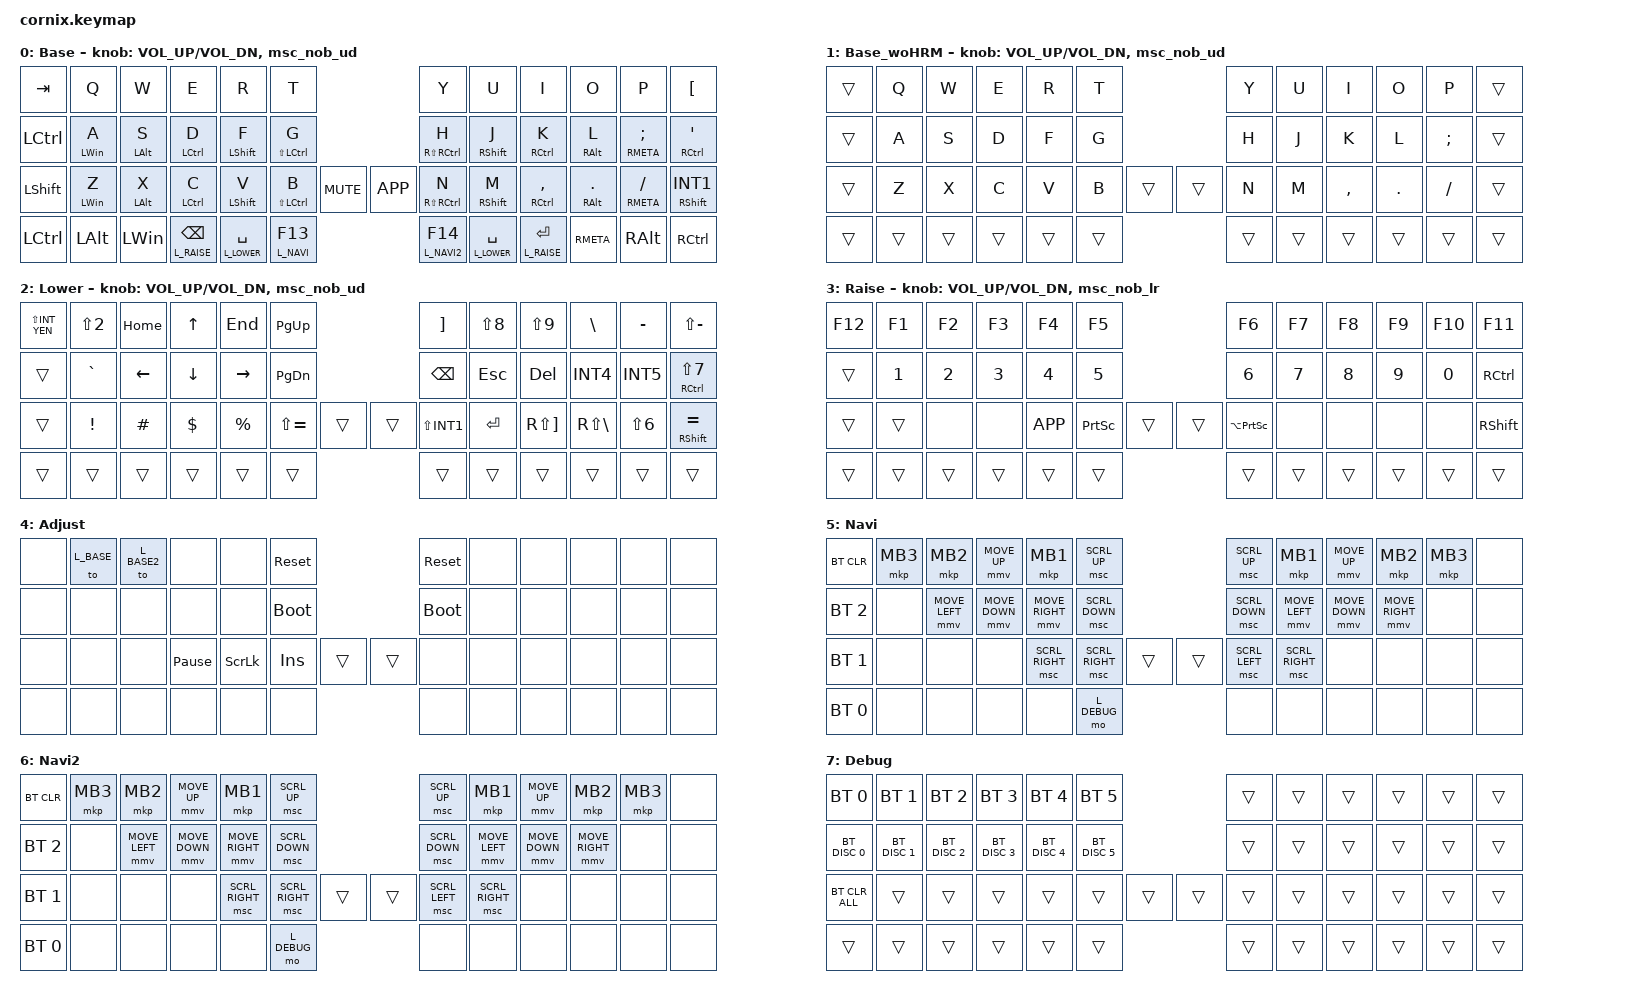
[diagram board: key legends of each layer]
/*
 * Copyright (c) 2020 The ZMK Contributors
 *
 * SPDX-License-Identifier: MIT
 */

#include "zmk-helpers/helper.h"
#include "includes/cornix54.h"

// Home Row mod定数
#define HM_TAPPING_TERM         200     // 通常判定
#define HM_QUICK_TAP_TERM       200     // 通常判定
#define HM_PRIOR_IDLE           150
#define HM_TAPPING_TERM_FAST    150     // 高速判定
#define HM_QUICK_TAP_TERM_FAST  150     // 高速判定

#define LT_THUMB_TAPPING_TERM   300     // 親指 layer tap
#define LT_LITTLE_TAPPING_TERM  300     // 小指 layer tap
#define MT_LITTLE_TAPPING_TERM  300     // 小指 mod tap

#define HM_TAPPING_REPEAT 210

// layers
#define L_BASE      0
#define L_BASE2     1   // BASE without HRM
#define L_LOWER     2
#define L_RAISE     3
#define L_ADJUST    4
#define L_NAVI      5
#define L_NAVI2     6
#define L_DEBUG     7

// https://github.com/urob/zmk-config/tree/main#timeless-homerow-mods

#define KEYS_L LT0 LT1 LT2 LT3 LT4 LT5 LM0 LM1 LM2 LM3 LM4 LM5 LB0 LB1 LB2 LB3 LB4 LB5  // left hand
#define KEYS_R RT0 RT1 RT2 RT3 RT4 RT5 RM0 RM1 RM2 RM3 RM4 RM5 RB0 RB1 RB2 RB3 RB4 RB5  // right hand
#define THUMBS LH1 LH0 RH0 RH1
#define KEYS_T LH1 LH0 RH0 RH1

#include <behaviors.dtsi>
#include <dt-bindings/zmk/bt.h>
#include <dt-bindings/zmk/keys.h>
#include <dt-bindings/zmk/pointing.h>

#include "keycode_japanese.h"

// modifier組み合わせ

/*- 個人設定 ---------------------------------------------------------------*/

/* combo */
#define COMBO_TIMEOUT       25      // combo入力時間
#define COMBO_PRIOR_IDLE    80      // combo入力前に一旦待つ

/* キーボードでのマウス操作 */
#define ZMK_POINTING_DEFAULT_MOVE_VAL   2400    // default: 600
#define ZMK_POINTING_DEFAULT_SCRL_VAL   80     // default: 10


/*- キーマウス加速 ----------------------------------------------------------*/
&mmv {
    time-to-max-speed-ms = <600>;  // 最高速に達するまでの時間(ms)
    acceleration-exponent = <1>;    // 加速カーブの形状(1:線形, 2:二次加速)
    delay-ms = <0>;                 // 動き始めるまでの遅延(ms)
};

/* キーホイール加速 */
&msc {
    time-to-max-speed-ms = <600>;  // 最高速に達するまでの時間(ms)
    acceleration-exponent = <1>;    // 加速カーブの形状(1:線形, 2:二次加速)
    delay-ms = <0>;                 // 動き始めるまでの遅延(ms)
};

/ {
    // Activate ADJUST layer by pressing raise and lower

    behaviors {
        hm_l: homerow_mods_left {
            compatible = "zmk,behavior-hold-tap";
            label = "HRM_L";
            bindings = <&kp>, <&kp>;

            #binding-cells = <2>;
            tapping-term-ms = <HM_TAPPING_TERM>;
            quick-tap-ms = <200>;                // repeat on tap-into-hold
            flavor = "balanced";
            hold-trigger-key-positions = <KEYS_R KEYS_T>;
            hold-trigger-on-release;
            require-prior-idle-ms = <HM_PRIOR_IDLE>;
        };

        hm_r: homerow_mods_right {
            compatible = "zmk,behavior-hold-tap";
            label = "HRM_R";
            bindings = <&kp>, <&kp>;

            #binding-cells = <2>;
            tapping-term-ms = <HM_TAPPING_TERM>;
            quick-tap-ms = <200>;
            flavor = "balanced";
            hold-trigger-key-positions = <KEYS_L KEYS_T>;
            hold-trigger-on-release;
            require-prior-idle-ms = <HM_PRIOR_IDLE>;
        };

        // Positional Homerow mods for shift
        // Use faster tapping term and disable some features that may
        // cause false negatives.

        hm_shift_l: hm_shift_l {
            compatible = "zmk,behavior-hold-tap";
            label = "HRM_SHIFT_L";
            bindings = <&kp>, <&kp>;

            #binding-cells = <2>;
            tapping-term-ms = <HM_TAPPING_TERM_FAST>;
            flavor = "balanced";
            quick-tap-ms = <200>;
            hold-trigger-key-positions = <KEYS_R KEYS_T>;
            hold-trigger-on-release;
            require-prior-idle-ms = <HM_PRIOR_IDLE>;
        };

        hm_shift_r: hm_shift_r {
            compatible = "zmk,behavior-hold-tap";
            label = "HRM_SHIFT_R";
            bindings = <&kp>, <&kp>;

            #binding-cells = <2>;
            tapping-term-ms = <HM_TAPPING_TERM_FAST>;
            flavor = "balanced";
            quick-tap-ms = <200>;
            hold-trigger-key-positions = <KEYS_L KEYS_T>;
            hold-trigger-on-release;
            require-prior-idle-ms = <HM_PRIOR_IDLE>;
        };

        // 親指 layer tap
        lt_thumb: lt_thumb {
            compatible = "zmk,behavior-hold-tap";
            label = "LT_THUMB";
            bindings = <&mo>, <&kp>;

            #binding-cells = <2>;
            tapping-term-ms = <300>;
            flavor = "hold-preferred";            
        };

        // 小指 layer tap
        lt_little: lt_little {
            compatible = "zmk,behavior-hold-tap";
            label = "LT_LITTLE";
            bindings = <&mo>, <&kp>;

            #binding-cells = <2>;
            tapping-term-ms = <300>;
            flavor = "hold-preferred";            
        };

        // 小指 mod tap
        mt_little: mt_little {
                compatible = "zmk,behavior-hold-tap";
                label = "MT_LITTLE";
                bindings = <&kp>, <&kp>;

                #binding-cells = <2>;
                tapping-term-ms = <300>;
                flavor = "hold-preferred";
        };

        /*
         * Non-Positional Homerow Mods
         * Used for &mm_grescm_gui behavior on left hand.
         *
         * Usage: &hm LSHFT T
         * Tap: T
         * Tap-Tap-Hold: Repeat T
         * Hold: LSHIFT
         */

        hm: homerow_mods {
            compatible = "zmk,behavior-hold-tap";
            #binding-cells = <2>;
            bindings = <&kp>, <&kp>;

            flavor = "balanced";
            tapping-term-ms = <HM_TAPPING_TERM>;
            quick-tap-ms = <200>;
        };

        lt: layer_tap {
            compatible = "zmk,behavior-hold-tap";
            #binding-cells = <2>;
            bindings = <&mo>, <&kp>;

            flavor = "hold-preferred";
            tapping-term-ms = <HM_TAPPING_TERM>;
            quick-tap-ms = <200>;
        };

		/* wheel scroll定義(nob操作用) */
        msc2: mouse_scroll_enc {
            compatible = "zmk,behavior-input-two-axis";
            #binding-cells = <1>;
            x-input-code = <INPUT_REL_HWHEEL>;
            y-input-code = <INPUT_REL_WHEEL>;
            time-to-max-speed-ms = <300>;
            acceleration-exponent = <0>;
        };
        msc3: mouse_scroll_enc2 {
            compatible = "zmk,behavior-input-two-axis";
            #binding-cells = <1>;
            x-input-code = <INPUT_REL_HWHEEL>;
            y-input-code = <INPUT_REL_WHEEL>;
            time-to-max-speed-ms = <300>;
            acceleration-exponent = <0>;
        };

        msc_nob_ud: msc_nob_ud {
            compatible = "zmk,behavior-sensor-rotate";
            #sensor-binding-cells = <0>;
            bindings = <&msc2 SCRL_UP>, <&msc2 SCRL_DOWN>;
            tap-ms = <20>;
        };

        msc_nob_lr: msc_nob_lr {
            compatible = "zmk,behavior-sensor-rotate";
            #sensor-binding-cells = <0>;
            bindings = <&msc3 SCRL_LEFT>, <&msc3 SCRL_RIGHT>;
            tap-ms = <20>;
        };

    };

    conditional_layers {
        compatible = "zmk,conditional-layers";

        adjust_layer {
            if-layers = <L_LOWER L_RAISE>;
            then-layer = <L_ADJUST>;   // こうすると、ADJUSTlayerには MO()やLT()で入れなくなる。
        };
    };

    msc2_input_listener: msc2_input_listener {
        compatible = "zmk,input-listener";
        device = <&msc2>;
    };
    
    msc3_input_listener: msc3_input_listener {
        compatible = "zmk,input-listener";
        device = <&msc3>;
    };

    combos {
        compatible = "zmk,combos";

        /* Left Top Row */
        cb_tabq {
            bindings = <&none>;
            key-positions = <0 1>;
            timeout-ms = <COMBO_TIMEOUT>;
            require-prior-idle-ms = <COMBO_PRIOR_IDLE>;
        };

        cb_qw {
            bindings = <&kp K_APP>;
            key-positions = <1 2>;
            timeout-ms = <COMBO_TIMEOUT>;
            require-prior-idle-ms = <COMBO_PRIOR_IDLE>;
        };

        cb_we {
            bindings = <&kp ESC>;
            key-positions = <2 3>;
            timeout-ms = <COMBO_TIMEOUT>;
            require-prior-idle-ms = <COMBO_PRIOR_IDLE>;
            //layers = <0>;
        };

        cb_er {
            bindings = <&kp ENTER>;
            key-positions = <3 4>;
            timeout-ms = <COMBO_TIMEOUT>;
            require-prior-idle-ms = <COMBO_PRIOR_IDLE>;
            //layers = <0>;
        };

        cb_rt {
            bindings = <&kp DELETE>;
            key-positions = <4 5>;
            timeout-ms = <COMBO_TIMEOUT>;
            require-prior-idle-ms = <COMBO_PRIOR_IDLE>;
            //layers = <0>;
        };

        /* Left Bottom Row */
        cb_sftz {
            bindings = <&none>;
            key-positions = <1 2>;
            timeout-ms = <COMBO_TIMEOUT>;
            require-prior-idle-ms = <COMBO_PRIOR_IDLE>;
        };

        cb_zx {
            bindings = <&none>;
            key-positions = <3 2>;
            timeout-ms = <COMBO_TIMEOUT>;
            require-prior-idle-ms = <COMBO_PRIOR_IDLE>;
            //layers = <0>;
        };

        cb_xc {
            bindings = <&none>;
            key-positions = <3 4>;
            timeout-ms = <COMBO_TIMEOUT>;
            require-prior-idle-ms = <COMBO_PRIOR_IDLE>;
            //layers = <0>;
        };

        cb_cv {
            bindings = <&none>;
            key-positions = <4 5>;
            timeout-ms = <COMBO_TIMEOUT>;
            require-prior-idle-ms = <COMBO_PRIOR_IDLE>;
            //layers = <0>;
        };

        cb_vb {
            bindings = <&none>;
            key-positions = <4 5>;
            timeout-ms = <COMBO_TIMEOUT>;
            require-prior-idle-ms = <COMBO_PRIOR_IDLE>;
            //layers = <0>;
        };

        /* Right Top Row */
        cb_yu {
            bindings = <&mkp MB1>;
            key-positions = <6 7>;
            timeout-ms = <COMBO_TIMEOUT>;
            require-prior-idle-ms = <COMBO_PRIOR_IDLE>;
        };

        cb_ui {
            bindings = <&msc SCRL_UP>;
            key-positions = <7 8>;
            timeout-ms = <COMBO_TIMEOUT>;
            require-prior-idle-ms = <COMBO_PRIOR_IDLE>;
        };

        cb_io {
            bindings = <&msc SCRL_DOWN>;
            key-positions = <8 9>;
            timeout-ms = <COMBO_TIMEOUT>;
            require-prior-idle-ms = <COMBO_PRIOR_IDLE>;
        };

        cb_op {
            bindings = <&mkp MB2>;
            key-positions = <9 10>;
            timeout-ms = <COMBO_TIMEOUT>;
            require-prior-idle-ms = <COMBO_PRIOR_IDLE>;
        };

        cb_pat {
            bindings = <&mkp MB3>;
            key-positions = <10 11>;
            timeout-ms = <COMBO_TIMEOUT>;
            require-prior-idle-ms = <COMBO_PRIOR_IDLE>;
        };

        /* Right Bottom Row */
        cb_nm {
            bindings = <&none>;
            key-positions = <6 7>;
            timeout-ms = <COMBO_TIMEOUT>;
            require-prior-idle-ms = <COMBO_PRIOR_IDLE>;
        };

        cb_mcomma {
            bindings = <&none>;
            key-positions = <7 8>;
            timeout-ms = <COMBO_TIMEOUT>;
            require-prior-idle-ms = <COMBO_PRIOR_IDLE>;
        };

        cb_commaperiod {
            bindings = <&none>;
            key-positions = <8 9>;
            timeout-ms = <COMBO_TIMEOUT>;
            require-prior-idle-ms = <COMBO_PRIOR_IDLE>;
        };

        cb_priodslash {
            bindings = <&none>;
            key-positions = <9 10>;
            timeout-ms = <COMBO_TIMEOUT>;
            require-prior-idle-ms = <COMBO_PRIOR_IDLE>;
        };

        cb_slashbackslash {
            bindings = <&none>;
            key-positions = <10 11>;
            timeout-ms = <COMBO_TIMEOUT>;
            require-prior-idle-ms = <COMBO_PRIOR_IDLE>;
        };
    };

    keymap {
        compatible = "zmk,keymap";

        default_layer {
            display-name = "Base";

            // ------------------------------------------------------------------------------------------------------------
            // |   `   |  1  |  2  |  3   |  4   |  5   |                   |  6   |  7    |  8    |  9   |   0   |       |
            // |  ESC  |  Q  |  W  |  E   |  R   |  T   |                   |  Y   |  U    |  I    |  O   |   P   | BKSPC |
            // |  TAB  |  A  |  S  |  D   |  F   |  G   |                   |  H   |  J    |  K    |  L   |   ;   |   '   |
            // | SHIFT |  Z  |  X  |  C   |  V   |  B   |  MUTE  |  |       |  N   |  M    |  ,    |  .   |   /   | SHIFT |
            //               | GUI | ALT  | CTRL | LOWER|  ENTER |  | SPACE | RAISE| CTRL  | ALT   | GUI  |

            bindings = <
&kp TAB     &kp Q         &kp W         &kp E                       &kp R                    &kp T                                           &kp Y                   &kp U                   &kp I                   &kp O          &kp P             &kp LEFT_BRACKET
&kp LCTRL   &hm_l LWIN A  &hm_l LALT S  &hm_l LCTRL D               &hm_shift_l LSHFT F      &hm_l LS(LCTRL) G                               &hm_r RS(RCTRL) H       &hm_shift_r RSHFT J     &hm_r RCTRL K           &hm_r RALT L   &hm_r RMETA SEMI  &mt_little RCTRL SQT
&kp LSHIFT  &hm_l LWIN Z  &hm_l LALT X  &hm_l LCTRL C               &hm_shift_l LSHFT V      &hm_l LS(LCTRL) B     &kp C_MUTE    &kp K_APP   &hm_r RS(RCTRL) N       &hm_shift_r RSHFT M     &hm_r RCTRL COMMA       &hm_r RALT DOT &hm_r RMETA FSLH  &mt_little RSHFT INT1
&kp LCTRL   &kp LEFT_ALT  &kp LWIN      &lt_thumb L_RAISE BACKSPACE &lt_thumb L_LOWER SPACE  &lt_thumb L_NAVI F13                            &lt_thumb L_NAVI2 F14   &lt_thumb L_LOWER SPACE &lt_thumb L_RAISE ENTER &kp RMETA      &kp RIGHT_ALT     &kp RCTRL
            >;

            sensor-bindings = <&inc_dec_kp C_VOL_UP C_VOL_DN &msc_nob_ud>;
        };

        default2_layer {
            display-name = "Base_woHRM";
            bindings = <
&trans      &kp Q         &kp W     &kp E        &kp R     &kp T                     &kp Y     &kp U    &kp I      &kp O      &kp P          &trans
&trans      &kp A         &kp S     &kp D        &kp F     &kp G                     &kp H     &kp J    &kp K      &kp L      &kp SEMICOLON  &trans
&trans      &kp Z         &kp X     &kp C        &kp V     &kp B     &trans  &trans  &kp N     &kp M    &kp COMMA  &kp DOT    &kp FSLH       &trans
&trans      &trans        &trans    &trans       &trans    &trans                    &trans    &trans   &trans     &trans     &trans         &trans
            >;

            sensor-bindings = <&inc_dec_kp C_VOL_UP C_VOL_DN &msc_nob_ud>;
        };

        lower_layer {
            display-name = "Lower";

            // TODO: Some binds are waiting for shifted keycode support.
            // -------------------------------
            // |       |  F1 |  F2 |  F3  |  F4  |  F5  |                   |  F6  |  F7   |  F8   |  F9  |  F10  |  F11  |
            // |   `   |  1  |  2  |  3   |  4   |  5   |                   |  6   |  7    |  8    |  9   |   0   |  F12  |
            // |       |  !  |  @  |  #   |  $   |  %   |                   |  ^   |  &    |  *    |  (   |   )   |   |   |
            // |       |  =  |  -  |  +   |  {   |  }   |        |  |       |  [   |  ]    |  ;    |  :   |   \   |       |
            //               |     |      |      |      |        |  |       |      |       |       |      |

            bindings = <
&kp LS(INT_YEN)  &kp LS(N2)       &kp HOME  &kp UP_ARROW  &kp END      &kp PAGE_UP                    &kp RIGHT_BRACKET  &kp LS(N8)  &kp LS(N9)             &kp BACKSLASH     &kp MINUS   &kp LS(MINUS)
&trans           &kp GRAVE        &kp LEFT  &kp DOWN      &kp RIGHT    &kp PAGE_DOWN                  &kp BACKSPACE      &kp ESCAPE  &kp DELETE             &kp INT4          &kp INT5    &mt RCTRL LS(N7)
&trans           &kp EXCLAMATION  &kp HASH  &kp DOLLAR    &kp PERCENT  &kp LS(EQUAL)  &trans  &trans  &kp LS(INT1)       &kp ENTER   &kp RS(RIGHT_BRACKET)  &kp RS(BACKSLASH) &kp LS(N6)  &mt RSHFT EQUAL
&trans           &trans           &trans    &trans        &trans       &trans                         &trans             &trans      &trans                 &trans            &trans      &trans
            >;

            sensor-bindings = <&inc_dec_kp C_VOL_UP C_VOL_DN &msc_nob_ud>;
        };

        Raise_layer {
            display-name = "Raise";

            // ------------------------------------------------------------------------------------------------------------
            // | BTCLR | BT1  | BT2  |  BT3  |  BT4  |  BT5 |                |      |      |       |      |       |       |
            // |       | INS  | PSCR | GUI   |       |      |                | PGUP |      |   ^   |      |       |       |
            // |       | ALT  | CTRL | SHIFT |       | CAPS |                | PGDN |   <- |   v   |  ->  |  DEL  | BKSPC |
            // |       | UNDO | CUT  | COPY  | PASTE |      |      |  |      |      |      |       |      |       |       |
            //                |      |       |       |      |      |  |      |      |      |       |      |

            bindings = <
&kp F12     &kp F1   &kp F2   &kp F3   &kp F4     &kp F5                           &kp F6               &kp F7   &kp F8   &kp F9   &kp F10  &kp F11
&trans      &kp N1   &kp N2   &kp N3   &kp N4     &kp N5                           &kp N6               &kp N7   &kp N8   &kp N9   &kp N0   &kp RCTRL
&trans      &trans   &none    &none    &kp K_APP  &kp PRINTSCREEN  &trans  &trans  &kp LA(PRINTSCREEN)  &none    &none    &none    &none    &kp RSHIFT
&trans      &trans   &trans   &trans   &trans     &trans                           &trans               &trans   &trans   &trans   &trans   &trans
            >;

            sensor-bindings = <&inc_dec_kp C_VOL_UP C_VOL_DN &msc_nob_lr>;
        };

        Adjust_layer {
            display-name = "Adjust";

            // ----------------------------------------------------------------------------------------------------------------------------
            // | BTCLR  |  BT1    |  BT2    |   BT3   |   BT4   |   BT5   |                  |      |      |       |      |       |       |
            // | moDEBUG| RGB_HUD | RGB_HUI | RGB_SAD | RGB_SAI | RGB_EFF |                  |      |      |       |      |       |       |
            // | EXTPWR | RGB_BRD | RGB_BRI |         |         |         |                  |      |      |       |      |       |       |
            // |        |         |         |         |         |         | RGB_TOG | |      |      |      |       |      |       |       |
            //                    |         |         |         |         |         | |      |      |      |       |      |

            bindings = <
&none  &to L_BASE &to L_BASE2 &none           &none          &sys_reset                   &sys_reset   &none  &none  &none  &none  &none
&none  &none      &none       &none           &none          &bootloader                  &bootloader  &none  &none  &none  &none  &none
&none  &none      &none       &kp PAUSE_BREAK &kp SCROLLLOCK &kp INS      &trans  &trans  &none        &none  &none  &none  &none  &none
&none  &none      &none       &none           &none          &none                        &none        &none  &none  &none  &none  &none
            >;
        };

        Navi_layer {
            display-name = "Navi";
            bindings = <
&bt BT_CLR   &mkp MB3  &mkp MB2        &mmv MOVE_UP    &mkp MB1         &msc SCRL_UP                     &msc SCRL_UP    &mkp MB1        &mmv MOVE_UP    &mkp MB2        &mkp MB3 &none
&bt BT_SEL 2 &none     &mmv MOVE_LEFT  &mmv MOVE_DOWN  &mmv MOVE_RIGHT  &msc SCRL_DOWN                   &msc SCRL_DOWN  &mmv MOVE_LEFT  &mmv MOVE_DOWN  &mmv MOVE_RIGHT &none    &none
&bt BT_SEL 1 &none     &none           &none           &msc SCRL_RIGHT  &msc SCRL_RIGHT  &trans  &trans  &msc SCRL_LEFT  &msc SCRL_RIGHT &none           &none           &none    &none
&bt BT_SEL 0 &none     &none           &none           &none            &mo L_DEBUG                      &none           &none           &none           &none           &none    &none
            >;
        };

        Navi2_layer {
            display-name = "Navi2";

            // ----------------------------------------------------------------------------------------------------------------------------
            // | BTCLR  |  BT1    |  BT2    |   BT3   |   BT4   |   BT5   |                  |      |      |       |      |       |       |
            // | EXTPWR | BTCLR | RGB_HUI | RGB_SAD | RGB_SAI | RGB_EFF |                  |      |      |       |      |       |       |
            // |        | RGB_BRD | RGB_BRI |         |         |         |                  |      |      |       |      |       |       |
            // |        |         |         |         |         |         | RGB_TOG | |      |      |      |       |      |       |       |
            //                    |         |         |         |         |         | |      |      |      |       |      |

            bindings = <
&bt BT_CLR   &mkp MB3  &mkp MB2        &mmv MOVE_UP    &mkp MB1         &msc SCRL_UP                     &msc SCRL_UP    &mkp MB1        &mmv MOVE_UP    &mkp MB2        &mkp MB3 &none
&bt BT_SEL 2 &none     &mmv MOVE_LEFT  &mmv MOVE_DOWN  &mmv MOVE_RIGHT  &msc SCRL_DOWN                   &msc SCRL_DOWN  &mmv MOVE_LEFT  &mmv MOVE_DOWN  &mmv MOVE_RIGHT &none    &none
&bt BT_SEL 1 &none     &none           &none           &msc SCRL_RIGHT  &msc SCRL_RIGHT  &trans  &trans  &msc SCRL_LEFT  &msc SCRL_RIGHT &none           &none           &none    &none
&bt BT_SEL 0 &none     &none           &none           &none            &mo L_DEBUG                      &none           &none           &none           &none           &none    &none
            >;
        };

        Debug_layer {
            display-name = "Debug";
            bindings = <
&bt BT_SEL 0    &bt BT_SEL 1  &bt BT_SEL 2  &bt BT_SEL 3  &bt BT_SEL 4  &bt BT_SEL 5                  &trans  &trans  &trans  &trans  &trans  &trans
&bt BT_DISC 0   &bt BT_DISC 1 &bt BT_DISC 2 &bt BT_DISC 3 &bt BT_DISC 4 &bt BT_DISC 5                 &trans  &trans  &trans  &trans  &trans  &trans
&bt BT_CLR_ALL  &trans        &trans       &trans        &trans        &trans        &trans  &trans   &trans  &trans  &trans  &trans  &trans  &trans
&trans          &trans        &trans       &trans        &trans        &trans                         &trans  &trans  &trans  &trans  &trans  &trans
            >;
        };
    };
};
